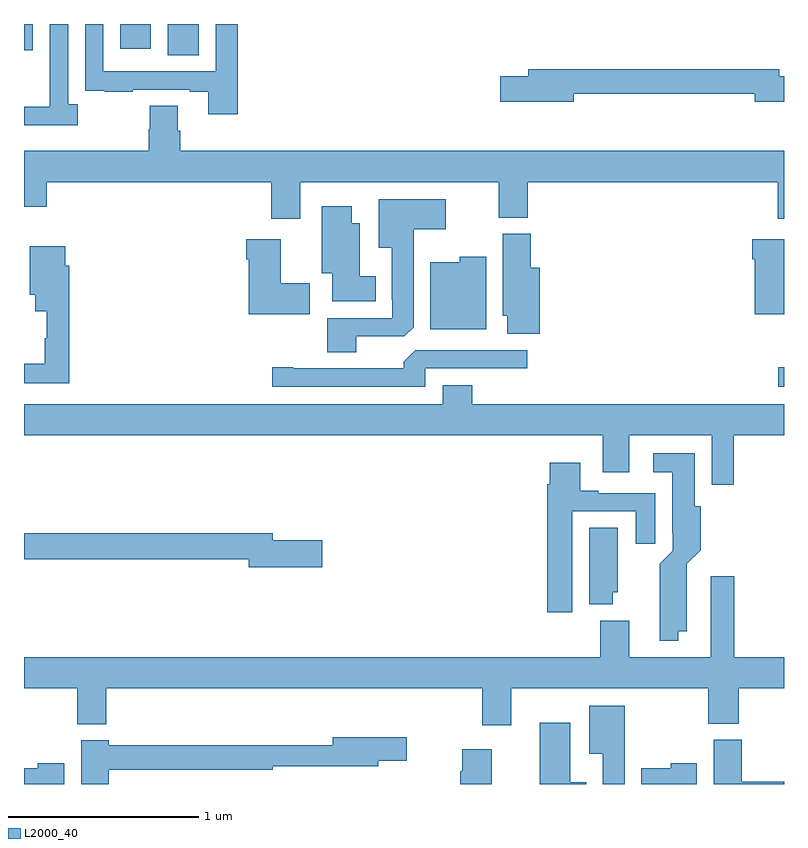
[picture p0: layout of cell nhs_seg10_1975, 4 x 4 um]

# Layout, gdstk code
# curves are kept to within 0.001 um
import gdstk
lib = gdstk.Library(unit=1e-6, precision=1e-09)
def R(c, l, rs):  # rectangles x0, y0, x1, y1
    for r in rs: c.add(gdstk.rectangle(r[:2], r[2:], *l))
def P(c, l, *ps):  # polygons
    for p in ps: c.add(gdstk.Polygon(p, *l))
L2000_40 = (2000, 40)

nhs_seg10_1975 = lib.new_cell('nhs_seg10_1975')
R(nhs_seg10_1975, L2000_40, [(218.97,1280.592,219,1280.693), (215.756,1282.336,215.92,1282.5), (215,1282.361,215.047,1282.5), (215.507,1282.371,215.668,1282.5)])
P(nhs_seg10_1975, L2000_40, [(215.284,1282.078),(215.232,1282.078),(215.232,1282.5),(215.136,1282.5),(215.136,1282.265),(215.135,1282.265),(215.135,1282.065),(215,1282.065),(215,1281.968),(215.284,1281.968)],
  [(216.125,1282.5),(216.009,1282.5),(216.009,1282.251),(215.418,1282.251),(215.418,1282.5),(215.322,1282.5),(215.322,1282.258),(215.323,1282.258),(215.323,1282.149),(215.425,1282.149),(215.425,1282.143),(215.573,1282.143),(215.573,1282.155),(215.873,1282.155),(215.873,1282.143),(215.969,1282.143),(215.969,1282.026),(216.125,1282.026)],
  [(217.894,1282.134),(218.846,1282.134),(218.846,1282.091),(219,1282.091),(219,1282.226),(218.974,1282.226),(218.974,1282.262),(217.655,1282.262),(217.655,1282.226),(217.506,1282.226),(217.506,1282.091),(217.894,1282.091)],
  [(216.454,1281.668),(217.499,1281.668),(217.499,1281.481),(217.652,1281.481),(217.652,1281.668),(218.966,1281.668),(218.966,1281.474),(219,1281.474),(219,1281.832),(215.822,1281.832),(215.822,1281.938),(215.809,1281.938),(215.809,1282.07),(215.662,1282.07),(215.662,1281.945),(215.657,1281.945),(215.657,1281.832),(215,1281.832),(215,1281.537),(215.12,1281.537),(215.12,1281.668),(216.302,1281.668),(216.302,1281.474),(216.454,1281.474)],
  [(216.748,1280.856),(217.002,1280.856),(217.051,1280.905),(217.051,1281.419),(217.219,1281.419),(217.219,1281.577),(216.866,1281.577),(216.866,1281.323),(216.935,1281.323),(216.935,1281.049),(216.939,1281.049),(216.939,1280.952),(216.596,1280.952),(216.596,1280.773),(216.748,1280.773)],
  [(216.85,1281.172),(216.766,1281.172),(216.766,1281.451),(216.724,1281.451),(216.724,1281.541),(216.566,1281.541),(216.566,1281.188),(216.623,1281.188),(216.623,1281.041),(216.85,1281.041)],
  [(217.715,1281.217),(217.667,1281.217),(217.667,1281.396),(217.52,1281.396),(217.52,1280.964),(217.544,1280.964),(217.544,1280.869),(217.715,1280.869)],
  [(219,1281.367),(218.834,1281.367),(218.834,1281.263),(218.846,1281.263),(218.846,1280.972),(219,1280.972)],
  [(216.505,1281.135),(216.352,1281.135),(216.352,1281.367),(216.17,1281.367),(216.17,1281.263),(216.182,1281.263),(216.182,1280.972),(216.505,1280.972)],
  [(215.237,1281.227),(215.218,1281.227),(215.218,1281.331),(215.03,1281.331),(215.03,1281.074),(215.06,1281.074),(215.06,1280.987),(215.12,1280.987),(215.12,1280.847),(215.109,1280.847),(215.109,1280.711),(215,1280.711),(215,1280.61),(215.237,1280.61)],
  [(217.432,1281.274),(217.293,1281.274),(217.293,1281.247),(217.139,1281.247),(217.139,1280.894),(217.432,1280.894)],
  [(217.113,1280.688),(217.648,1280.688),(217.648,1280.784),(217.059,1280.784),(216.998,1280.722),(216.998,1280.688),(216.418,1280.688),(216.418,1280.693),(216.306,1280.693),(216.306,1280.592),(217.113,1280.592)],
  [(218.735,1280.336),(219,1280.336),(219,1280.5),(217.358,1280.5),(217.358,1280.599),(217.205,1280.599),(217.205,1280.5),(215,1280.5),(215,1280.336),(218.045,1280.336),(218.045,1280.142),(218.185,1280.142),(218.185,1280.336),(218.619,1280.336),(218.619,1280.076),(218.735,1280.076)],
  [(218.443,1279.304),(218.488,1279.304),(218.489,1279.658),(218.561,1279.73),(218.561,1279.962),(218.53,1279.962),(218.53,1280.242),(218.313,1280.242),(218.313,1280.141),(218.411,1280.141),(218.411,1279.822),(218.415,1279.822),(218.415,1279.728),(218.345,1279.658),(218.346,1279.253),(218.443,1279.253)],
  [(217.885,1279.935),(218.219,1279.935),(218.219,1279.764),(218.323,1279.764),(218.323,1280.031),(218.023,1280.031),(218.023,1280.044),(217.927,1280.044),(217.927,1280.191),(217.766,1280.191),(217.766,1280.078),(217.754,1280.078),(217.754,1279.404),(217.885,1279.404)],
  [(218.098,1279.509),(218.125,1279.509),(218.125,1279.85),(217.976,1279.85),(217.976,1279.445),(218.098,1279.445)],
  [(216.571,1279.784),(216.31,1279.784),(216.31,1279.82),(215,1279.82),(215,1279.684),(216.182,1279.684),(216.182,1279.642),(216.571,1279.642)],
  [(217.564,1279.004),(218.602,1279.004),(218.602,1278.817),(218.762,1278.817),(218.762,1279.004),(219,1279.004),(219,1279.168),(218.738,1279.168),(218.738,1279.594),(218.615,1279.594),(218.615,1279.168),(218.185,1279.168),(218.185,1279.36),(218.033,1279.36),(218.033,1279.168),(215,1279.168),(215,1279.004),(215.279,1279.004),(215.279,1278.815),(215.432,1278.815),(215.432,1279.004),(217.412,1279.004),(217.412,1278.81),(217.564,1278.81)],
  [(218.161,1278.913),(217.976,1278.913),(217.976,1278.659),(218.045,1278.659),(218.045,1278.5),(218.161,1278.5)],
  [(217.96,1278.508),(217.876,1278.508),(217.876,1278.823),(217.715,1278.823),(217.715,1278.5),(217.96,1278.5)],
  [(215.447,1278.574),(216.308,1278.574),(216.308,1278.594),(216.865,1278.594),(216.865,1278.623),(217.015,1278.623),(217.015,1278.745),(216.626,1278.745),(216.626,1278.703),(215.447,1278.703),(215.447,1278.73),(215.3,1278.73),(215.3,1278.5),(215.447,1278.5)],
  [(219,1278.512),(218.777,1278.512),(218.777,1278.732),(218.63,1278.732),(218.63,1278.5),(219,1278.5)],
  [(217.462,1278.682),(217.307,1278.682),(217.307,1278.567),(217.295,1278.567),(217.295,1278.5),(217.462,1278.5)],
  [(215.212,1278.61),(215.073,1278.61),(215.073,1278.583),(215,1278.583),(215,1278.5),(215.212,1278.5)],
  [(218.542,1278.61),(218.403,1278.61),(218.403,1278.583),(218.249,1278.583),(218.249,1278.5),(218.542,1278.5)])

lib.write_gds('nhs_seg10_1975.gds')
